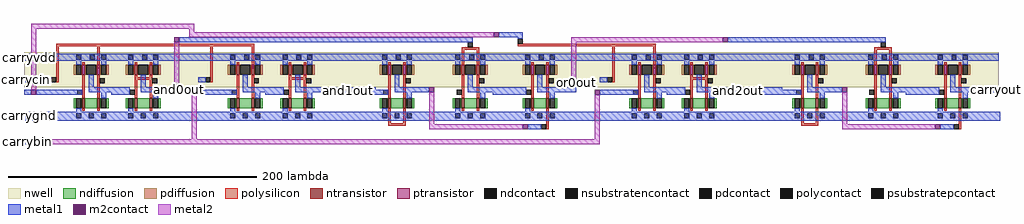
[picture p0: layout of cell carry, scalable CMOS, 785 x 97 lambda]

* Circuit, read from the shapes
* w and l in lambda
.subckt carry carryain carrybin carrycin carryout carryvdd carrygnd
M1 n1 carryain carrygnd carrygnd nfet w=8 l=2
M2 and_0/nandout carrycin n1 carrygnd nfet w=8 l=2
M3 n2 and_0/nandout carrygnd carrygnd nfet w=8 l=2
M4 and0out and_0/nandout n2 carrygnd nfet w=8 l=2
M5 n3 carrybin carrygnd carrygnd nfet w=8 l=2
M6 and_1/nandout carrycin n3 carrygnd nfet w=8 l=2
M7 n4 and_1/nandout carrygnd carrygnd nfet w=8 l=2
M8 and1out and_1/nandout n4 carrygnd nfet w=8 l=2
M9 n5 and1out carrygnd carrygnd nfet w=8 l=2
M10 or_0/nand0out and1out n5 carrygnd nfet w=8 l=2
M11 n6 and0out carrygnd carrygnd nfet w=8 l=2
M12 or_0/nand1out and0out n6 carrygnd nfet w=8 l=2
M13 n7 or_0/nand1out carrygnd carrygnd nfet w=8 l=2
M14 or0out or_0/nand0out n7 carrygnd nfet w=8 l=2
M15 n8 carrybin carrygnd carrygnd nfet w=8 l=2
M16 and_2/nandout carryain n8 carrygnd nfet w=8 l=2
M17 n9 and_2/nandout carrygnd carrygnd nfet w=8 l=2
M18 and2out and_2/nandout n9 carrygnd nfet w=8 l=2
M19 n10 and2out carrygnd carrygnd nfet w=8 l=2
M20 or_1/nand0out and2out n10 carrygnd nfet w=8 l=2
M21 n11 or0out carrygnd carrygnd nfet w=8 l=2
M22 or_1/nand1out or0out n11 carrygnd nfet w=8 l=2
M23 n12 or_1/nand1out carrygnd carrygnd nfet w=8 l=2
M24 carryout or_1/nand0out n12 carrygnd nfet w=8 l=2
M25 and_0/nandout carryain carryvdd carryvdd pfet w=8 l=2
M26 carryvdd carrycin and_0/nandout carryvdd pfet w=8 l=2
M27 and0out and_0/nandout carryvdd carryvdd pfet w=8 l=2 m=2
M28 and_1/nandout carrybin carryvdd carryvdd pfet w=8 l=2
M29 carryvdd carrycin and_1/nandout carryvdd pfet w=8 l=2
M30 and1out and_1/nandout carryvdd carryvdd pfet w=8 l=2 m=2
M31 or_0/nand0out and1out carryvdd carryvdd pfet w=8 l=2 m=2
M32 or_0/nand1out and0out carryvdd carryvdd pfet w=8 l=2 m=2
M33 or0out or_0/nand1out carryvdd carryvdd pfet w=8 l=2
M34 carryvdd or_0/nand0out or0out carryvdd pfet w=8 l=2
M35 and_2/nandout carrybin carryvdd carryvdd pfet w=8 l=2
M36 carryvdd carryain and_2/nandout carryvdd pfet w=8 l=2
M37 and2out and_2/nandout carryvdd carryvdd pfet w=8 l=2 m=2
M38 or_1/nand0out and2out carryvdd carryvdd pfet w=8 l=2 m=2
M39 or_1/nand1out or0out carryvdd carryvdd pfet w=8 l=2 m=2
M40 carryout or_1/nand1out carryvdd carryvdd pfet w=8 l=2
M41 carryvdd or_1/nand0out carryout carryvdd pfet w=8 l=2
.ends

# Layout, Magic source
magic
tech scmos
<< nwell >>
rect -16 27 768 55
<< polysilicon >>
rect 10 60 138 62
rect 381 60 466 62
<< metal1 >>
rect 366 67 385 71
rect 109 63 273 67
rect 381 66 385 67
rect 550 63 589 67
rect -16 48 768 54
rect -16 31 6 35
rect 424 27 428 29
rect -16 21 -10 25
rect -6 21 6 25
rect 123 21 130 25
rect 228 21 267 27
rect 447 21 451 25
rect 541 23 594 27
rect 748 23 768 27
rect 539 21 594 23
rect -16 0 769 7
rect -16 -19 -5 -15
<< metal2 >>
rect -10 74 121 78
rect -10 25 -6 74
rect 117 71 121 74
rect 117 67 362 71
rect 105 27 109 63
rect 424 63 546 67
rect 424 33 428 63
rect 119 -15 123 21
rect 443 -15 447 21
rect -1 -19 447 -15
<< polycontact >>
rect 381 62 385 66
<< m2contact >>
rect 362 67 366 71
rect 105 63 109 67
rect 546 63 550 67
rect 424 29 428 33
rect -10 21 -6 25
rect 105 23 109 27
rect 119 21 123 25
rect 443 21 447 25
rect -5 -19 -1 -15
use or  or_1
transform 1 0 596 0 1 0
box -13 -7 164 67
use and  and_2
transform 1 0 465 0 1 0
box -18 0 90 62
use or  or_0
transform 1 0 264 0 1 0
box -13 -7 164 67
use and  and_1
transform 1 0 142 0 1 0
box -18 0 90 62
use and  and_0
transform 1 0 18 0 1 0
box -18 0 90 62
<< labels >>
rlabel metal1 -16 51 -16 51 3 carryvdd
port 5 e
rlabel metal1 -16 33 -16 33 3 carrycin
port 3 e
rlabel metal1 -16 23 -16 23 3 carryain
port 1 e
rlabel metal1 -16 -17 -16 -17 2 carrybin
port 2 ne
rlabel metal1 -16 4 -16 4 3 carrygnd
port 6 e
rlabel metal1 768 25 768 25 7 carryout
port 4 w
rlabel m2contact 109 25 109 25 1 and0out
rlabel metal1 245 24 245 24 1 and1out
rlabel m2contact 428 31 428 31 1 or0out
rlabel metal1 559 24 559 24 1 and2out
<< end >>

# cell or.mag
magic
tech scmos
<< nwell >>
rect -6 27 164 55
<< polysilicon >>
rect 72 57 86 59
rect 72 46 74 57
rect 84 46 86 57
rect 13 -2 15 9
rect 25 -2 27 9
rect 13 -4 27 -2
rect 140 -7 142 9
<< metal1 >>
rect -13 63 81 67
rect -13 48 164 54
rect -12 21 13 25
rect 39 23 46 27
rect 97 21 124 27
rect 151 23 164 27
rect -11 0 164 7
rect 125 -7 136 -3
<< metal2 >>
rect 46 -3 50 23
rect 46 -7 121 -3
<< polycontact >>
rect 77 59 81 63
rect 136 -7 140 -3
<< m2contact >>
rect 46 23 50 27
rect 121 -7 125 -3
use nand_two  nand_two_2
transform 1 0 140 0 1 17
box -25 -17 17 38
use nand_two  nand_two_1
transform 1 0 84 0 1 17
box -25 -17 17 38
use nand_two  nand_two_0
transform 1 0 25 0 1 17
box -25 -17 17 38
<< labels >>
rlabel metal1 -12 23 -12 23 3 orain
port 1 e
rlabel metal1 -13 52 -13 52 3 orvdd
port 4 e
rlabel metal1 -11 4 -11 4 3 orgnd
port 5 e
rlabel metal1 164 25 164 25 7 orout
port 3 w
rlabel metal1 -13 65 -13 65 4 orbin
port 2 se
rlabel metal1 45 25 45 25 1 nand0out
rlabel metal1 104 25 104 25 1 nand1out
<< end >>

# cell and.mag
magic
tech scmos
<< polysilicon >>
rect -8 60 27 62
rect -8 31 -6 60
rect 25 42 27 60
rect 55 33 69 35
<< metal1 >>
rect -18 48 88 54
rect -18 31 -12 35
rect -18 21 13 25
rect 36 21 51 27
rect 81 23 89 27
rect -18 0 90 7
<< polycontact >>
rect -12 31 -8 35
use nand_two  nand_two_1
transform 1 0 67 0 1 17
box -25 -17 17 38
use nand_two  nand_two_0
transform 1 0 25 0 1 17
box -25 -17 17 38
<< labels >>
rlabel metal1 -18 51 -18 51 3 andvdd
port 4 e
rlabel metal1 -18 33 -18 33 3 andb
port 2 e
rlabel metal1 -18 23 -18 23 3 anda
port 1 e
rlabel metal1 -18 3 -18 3 2 andgnd
port 5 ne
rlabel metal1 89 25 89 25 7 andvout
port 3 w
rlabel metal1 42 24 42 24 1 nandout
<< end >>

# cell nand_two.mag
magic
tech scmos
<< nwell >>
rect -25 10 17 38
<< polysilicon >>
rect -12 28 -10 30
rect 0 28 2 30
rect -12 1 -10 20
rect 0 1 2 20
rect -12 -9 -10 -7
rect 0 -9 2 -7
<< ndiffusion >>
rect -19 -7 -17 1
rect -13 -7 -12 1
rect -10 -7 0 1
rect 2 -7 3 1
rect 7 -7 9 1
<< pdiffusion >>
rect -19 20 -17 28
rect -13 20 -12 28
rect -10 20 -9 28
rect -1 20 0 28
rect 2 20 3 28
rect 7 20 9 28
<< metal1 >>
rect -20 36 10 37
rect -20 32 -17 36
rect -13 32 -6 36
rect -2 32 3 36
rect 7 32 10 36
rect -20 31 10 32
rect -17 28 -13 31
rect 3 28 7 31
rect -7 10 -3 20
rect -7 6 17 10
rect 3 1 7 6
rect -17 -10 -13 -7
rect -19 -11 9 -10
rect -19 -15 -17 -11
rect -13 -15 -7 -11
rect -3 -15 3 -11
rect 7 -15 9 -11
rect -19 -17 9 -15
<< ntransistor >>
rect -12 -7 -10 1
rect 0 -7 2 1
<< ptransistor >>
rect -12 20 -10 28
rect 0 20 2 28
<< polycontact >>
rect -16 4 -12 8
rect 2 13 6 17
<< ndcontact >>
rect -17 -7 -13 1
rect 3 -7 7 1
<< pdcontact >>
rect -17 20 -13 28
rect -9 20 -1 28
rect 3 20 7 28
<< psubstratepcontact >>
rect -17 -15 -13 -11
rect -7 -15 -3 -11
rect 3 -15 7 -11
<< nsubstratencontact >>
rect -17 32 -13 36
rect -6 32 -2 36
rect 3 32 7 36
<< labels >>
rlabel metal1 -7 34 -7 34 5 vdd
rlabel metal1 -11 -13 -11 -13 1 gnd
rlabel polycontact 5 15 5 15 1 inB
rlabel metal1 12 8 12 8 7 out
rlabel polycontact -14 6 -14 6 1 inA
<< end >>
